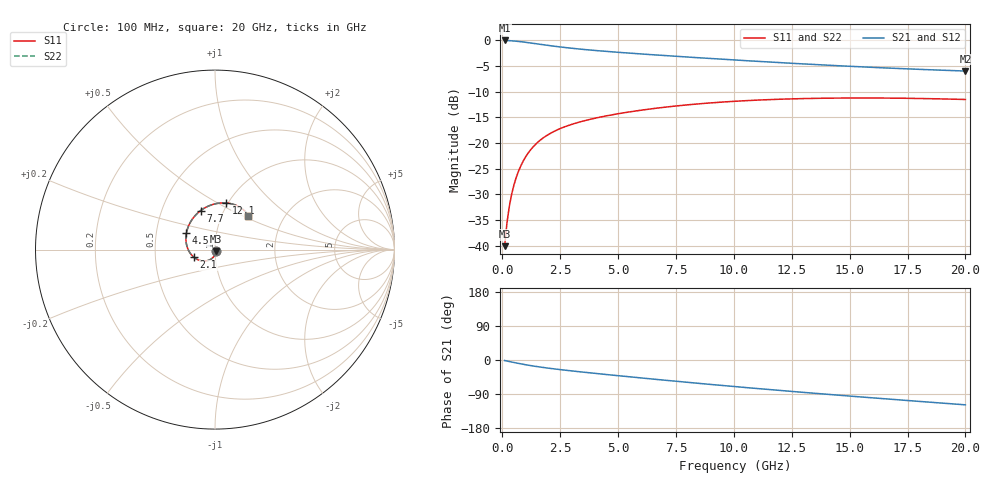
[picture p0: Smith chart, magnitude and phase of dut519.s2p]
! Touchstone file exported from HFSS 2024.1.0
!  File:  C:/UserFiles/LocalFiles/RDL_TSV_Batchsim/temp_RDL_TSV_519_1779741583.aedt
!  Generated:  04:56:00 AM May 26, 2026
!  Design:  RDL_TSV
!  Project:  temp_RDL_TSV_519_1779741583
!  Setup:  Setup1
!  Solution:  Sweep
! Variables:
!  dtsv = 14.52um
!  hbump = 3um
!  htsv = 76.18um
!  ldown = 230.7um
!  lrdl = 167.8um
!  p = 40
!  p1 = 51.73um
!  rhole = 10um
!  subl = 1363.3um
!  t = 450um
!  tdown = 2.57um
!  trdl = 4.5um
!  viad = 10um
!  wdown = 26.37um
!  wrdl = 26.43um
!  xbump = 18um
# GHz S MA R 50.000000
! Terminal data exported
! Port[1] = TM1_1_T1
! Port[2] = TM1_4_T1
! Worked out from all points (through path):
!   200 points, 100 MHz to 20 GHz, reference 50 ohm
!   highest |S21| = -0.06 dB at 100 MHz (marker M1); lowest = -6.0 dB at 20 GHz (marker M2)
!   group delay of S21, straight-line fit = 15.3 ps
!   lowest |S11| = -40.1 dB at 100 MHz (marker M3), VSWR 1.02, Z = 50.6 - j0.803 ohm
!   |S11| at or under -10 dB: start of sweep to end of sweep
!   |S22| runs from -40.1 to -11.3 dB; largest |S21 - S12| = 5.1e-14
!   S11 on the Smith chart (normalised r, x): 100 MHz: 1.01, -0.02; 2.1 GHz: 0.79, -0.07; 4.5 GHz: 0.71, +0.13; 7.7 GHz: 0.78, +0.36; 12.1 GHz: 0.98, +0.55; 20 GHz: 1.33, +0.54
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0.1  0.009922 -53.1  0.993 -1.4  0.993 -1.4  0.009923 -53.1
! Gamma 0 0 0 0
! Port Impedance 50 0 50 0
0.2  0.01658 -73.9  0.9912 -2.7  0.9912 -2.7  0.01658 -73.9
0.3  0.02392 -85.0  0.9886 -4.0  0.9886 -4.0  0.02392 -85.0
0.4  0.0314 -92.8  0.9853 -5.3  0.9853 -5.3  0.0314 -92.8
0.5  0.03882 -99.1  0.9813 -6.6  0.9813 -6.6  0.03882 -99.1
0.6  0.04608 -104.7  0.9766 -7.8  0.9766 -7.8  0.04609 -104.7
0.7  0.05314 -109.8  0.9715 -9.0  0.9715 -9.0  0.05314 -109.8
0.8  0.05995 -114.5  0.9658 -10.2  0.9658 -10.2  0.05995 -114.5
1  0.07279 -123.1  0.9535 -12.4  0.9535 -12.4  0.07279 -123.1
1.3  0.08997 -134.6  0.9334 -15.5  0.9334 -15.5  0.08996 -134.6
1.7  0.1092 -148.1  0.9064 -19.2  0.9064 -19.2  0.1092 -148.1
2.1  0.1249 -159.9  0.8811 -22.4  0.8811 -22.4  0.1249 -159.9
2.7  0.1438 -175.2  0.8481 -26.8  0.8481 -26.8  0.1438 -175.2
3.5  0.1636 167.8  0.8125 -32.1  0.8125 -32.1  0.1635 167.8
4.5  0.1836 150.3  0.777 -38.3  0.777 -38.3  0.1835 150.3
6.8  0.2199 119.8  0.7134 -52.1  0.7134 -52.1  0.2198 119.8
7.7  0.2314 110.4  0.6919 -57.2  0.6919 -57.2  0.2312 110.4
10.1  0.2549 90.0  0.6401 -70.5  0.6401 -70.5  0.2546 90.0
12.1  0.2669 76.8  0.6025 -80.9  0.6025 -80.9  0.2666 76.8
13.4  0.2714 69.6  0.5807 -87.4  0.5807 -87.4  0.2711 69.6
16.7  0.2732 55.3  0.5348 -103.2  0.5348 -103.2  0.2729 55.4
20  0.2649 45.6  0.5006 -118.3  0.5006 -118.3  0.2646 45.6
